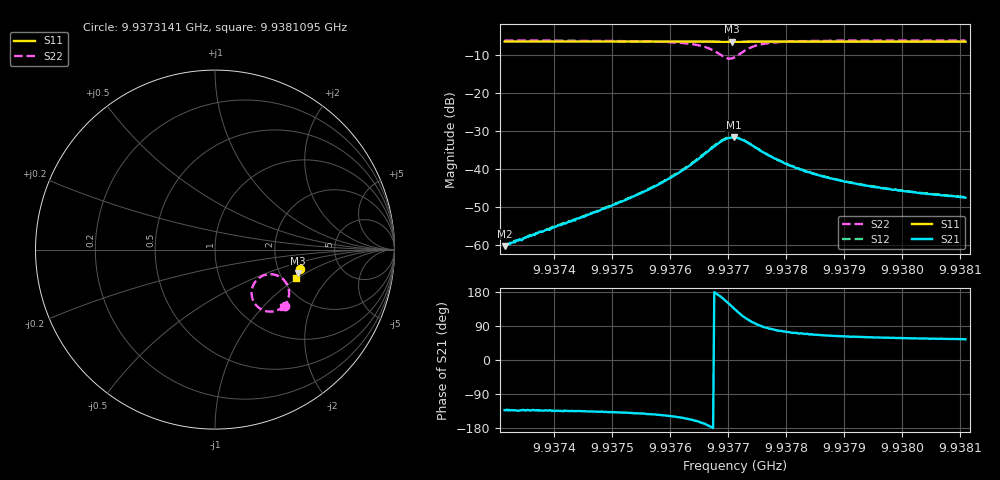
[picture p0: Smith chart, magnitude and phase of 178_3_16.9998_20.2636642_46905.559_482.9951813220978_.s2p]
#  HZ  S  RI  R  50.00
! Rohde & Schwarz Vector Network Analyzer
! Rohde-Schwarz,ZNB20-2Port,1311601062101988,3.16
! Created: UTC 3/20/2024, 11:00:03 PM
! freq[Hz]  re:S11  im:S11  re:S21  im:S21  re:S12  im:S12  re:S22  im:S22
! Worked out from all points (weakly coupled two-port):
!   401 points, 9.9373141 GHz to 9.9381095 GHz, reference 50 ohm
!   highest |S21| = -31.59 dB at 9.9377098 GHz (marker M1); lowest = -60.2 dB at 9.9373141 GHz (marker M2)
!   lowest |S11| = -6.4 dB at 9.9377058 GHz (marker M3), VSWR 2.84, Z = 125 - j42.7 ohm
!   |S11| at or under -10 dB: nowhere
!   |S22| runs from -10.8 to -6.0 dB; largest |S21 - S12| = 0.0014
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9.93731406e9  0.4714 -0.1073  -0.000661 -0.000727  -0.000663 -0.000717  0.3878 -0.3116
9.93744731e9  0.4687 -0.1164  -0.00166 -0.00165  -0.00171 -0.00166  0.3723 -0.3243
9.93753282e9  0.4666 -0.1222  -0.00326 -0.00276  -0.00335 -0.00274  0.3541 -0.3352
9.93758055e9  0.4653 -0.1255  -0.00526 -0.0037  -0.0054 -0.00366  0.3351 -0.3421
9.93761833e9  0.4643 -0.1282  -0.0083 -0.00444  -0.00854 -0.00436  0.3073 -0.3457
9.9376422e9  0.4633 -0.1298  -0.0119 -0.00428  -0.0121 -0.00416  0.278 -0.3415
9.9376601e9  0.4624 -0.131  -0.0159 -0.00329  -0.0162 -0.00274  0.2471 -0.326
9.93767402e9  0.4615 -0.1314  -0.0196 -0.000143  -0.0201 0.000376  0.2201 -0.2973
9.93768794e9  0.4607 -0.1319  -0.0225 0.00566  -0.0229 0.00633  0.2038 -0.2458
9.93769788e9  0.4603 -0.1318  -0.0227 0.0114  -0.0228 0.0126  0.2127 -0.1989
9.93770584e9  0.4601 -0.1317  -0.0207 0.0162  -0.0205 0.0174  0.2371 -0.165
9.93770981e9  0.4602 -0.1317  -0.019 0.0182  -0.0186 0.0192  0.2538 -0.1524
9.9377118e9  0.4604 -0.1318  -0.0181 0.0191  -0.0176 0.02  0.2626 -0.1474
9.93772175e9  0.4608 -0.132  -0.0124 0.0215  -0.0119 0.0222  0.3095 -0.137
9.93773567e9  0.4612 -0.1327  -0.00579 0.0213  -0.00517 0.0216  0.3614 -0.1516
9.93775754e9  0.4615 -0.1344  0.000304 0.0173  0.000658 0.0174  0.4003 -0.1922
9.93778141e9  0.4612 -0.1363  0.00253 0.0136  0.00283 0.0135  0.4118 -0.2268
9.93780328e9  0.4609 -0.138  0.00323 0.0112  0.00352 0.0111  0.4126 -0.2483
9.93784505e9  0.46 -0.1412  0.0033 0.00821  0.00361 0.00817  0.4082 -0.2731
9.93790272e9  0.4586 -0.1451  0.00318 0.00607  0.00335 0.00608  0.4006 -0.2919
9.93797829e9  0.4568 -0.1502  0.00285 0.0047  0.00295 0.0047  0.392 -0.3062
9.93810954e9  0.4533 -0.1588  0.00247 0.00346  0.00256 0.00352  0.3809 -0.3212
